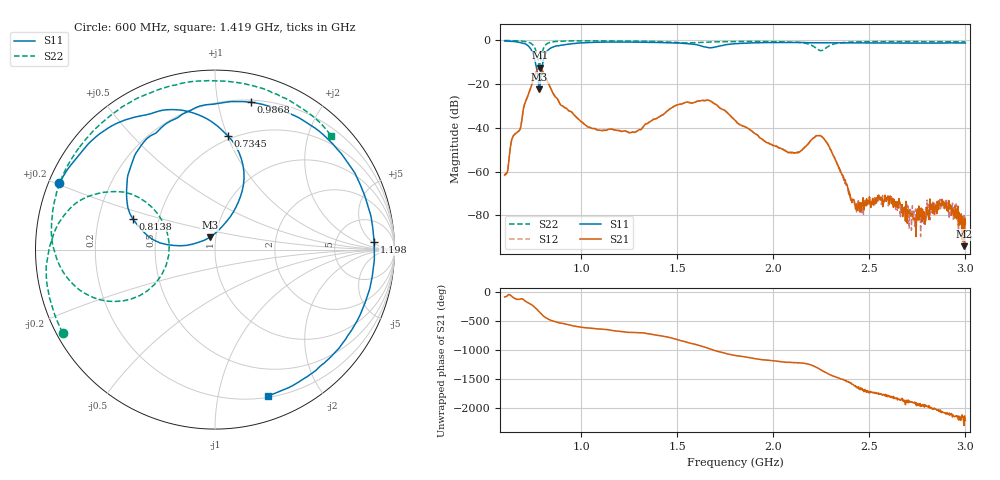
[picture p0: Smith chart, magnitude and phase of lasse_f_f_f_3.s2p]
#  HZ  S  RI  R  50.00
! Rohde & Schwarz ZVB8 2Ports - Version 2.81 - 1145.1010k08 SN: 100113
! Date: 2016-05-04 02:50:20
! Measurements: S11 S21 S12 S22
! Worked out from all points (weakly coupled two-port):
!   1000 points, 600 MHz to 3 GHz, reference 50 ohm
!   highest |S21| = -12.74 dB at 782.6 MHz (marker M1); lowest = -94.0 dB at 2.995 GHz (marker M2)
!   lowest |S11| = -22.6 dB at 780.2 MHz (marker M3), VSWR 1.16, Z = 46.8 + j6.4 ohm
!   |S11| at or under -10 dB: 759.2 MHz to 799.9 MHz (40.69 MHz wide, 5.22 % of centre)
!   |S22| runs from -11.8 to -0.3 dB; largest |S21 - S12| = 0.0043
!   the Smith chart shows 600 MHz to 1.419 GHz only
!   S11 on the Smith chart (normalised r, x): 600 MHz: 0.03, +0.20; 734.5 MHz: 0.47, +1.00; 813.8 MHz: 0.35, +0.16; 986.8 MHz: 0.22, +1.25; 1.198 GHz: 15, +6; 1.419 GHz: 0.21, -1.41
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6e8  -0.8666 0.3702  0.000138 -0.000832  5.26e-05 -0.000798  -0.8488 -0.4641
7.345345e8  0.0736 0.6315  -0.0695 0.0314  -0.0693 0.0319  -0.8157 0.2204
7.801802e8  -0.029 0.0681  0.2114 0.0894  0.2092 0.0911  -0.2548 0.031
7.825826e8  -0.0594 0.0522  0.2237 0.0564  0.2223 0.0575  -0.2575 -0.0297
8.138138e8  -0.4593 0.173  0.0308 -0.1325  0.0313 -0.1322  -0.728 -0.2421
8.786787e8  -0.3268 0.6509  -0.0405 -0.0118  -0.0404 -0.012  -0.9085 0.1683
9.867868e8  0.1985 0.8209  -0.00811 0.0129  -0.00817 0.013  -0.7497 0.5776
1.001201e9  0.2768 0.806  -0.00585 0.0122  -0.00586 0.0121  -0.715 0.6204
1.198198e9  0.886 0.0409  0.00609 0.00608  0.00604 0.00602  -0.0982 0.9389
1.4e9  0.3799 -0.7817  0.0157 -0.00678  0.0157 -0.00672  0.6025 0.6887
1.419219e9  0.2967 -0.8169  0.0159 -0.0109  0.0158 -0.0107  0.6487 0.6313
1.659459e9  -0.4831 -0.4593  -0.018 0.0383  -0.0184 0.0381  0.8784 -0.1197
1.801201e9  -0.777 -0.2526  0.0143 -0.00262  0.0142 -0.00259  0.6794 -0.6065
2.07988e9  -0.4734 0.7265  -0.0016 -0.00216  -0.00159 -0.00222  -0.2208 -0.8656
2.2e9  0.00135 0.8557  -0.00537 -0.000127  -0.00531 -0.000175  -0.5143 -0.5433
2.274474e9  0.2907 0.802  0.00278 0.00386  0.00282 0.00382  -0.3301 -0.5681
2.44024e9  0.7922 0.3122  -0.000119 7.12e-05  -0.000191 9.2e-05  -0.7985 -0.4125
2.601201e9  0.7609 -0.3729  0.000214 1.78e-05  0.00022 -1.75e-05  -0.9115 -0.02
2.790991e9  0.1626 -0.8252  -7.41e-05 -3.1e-05  -6.25e-05 5.21e-06  -0.8089 0.4055
2.875075e9  -0.1436 -0.83  1.52e-05 0.000167  -5.63e-05 0.000218  -0.7083 0.5667
2.995195e9  -0.5438 -0.6487  1.73e-05 9.92e-06  3.26e-05 -8.95e-05  -0.5045 0.7425
3e9  -0.5557 -0.6377  4.07e-05 -5.07e-05  9.33e-06 -3.5e-05  -0.4938 0.7504
